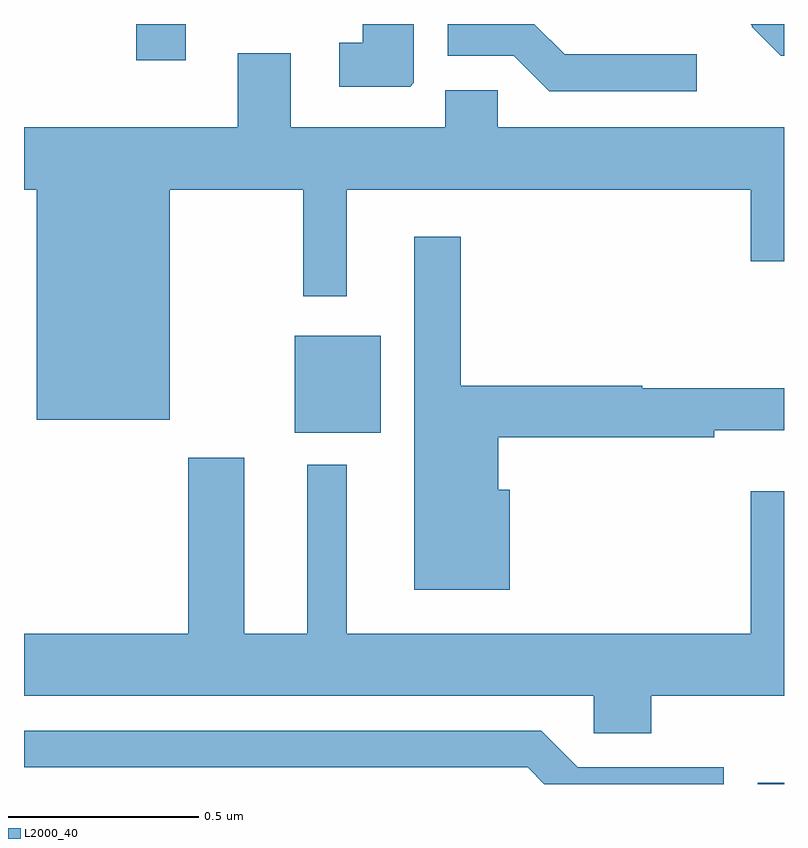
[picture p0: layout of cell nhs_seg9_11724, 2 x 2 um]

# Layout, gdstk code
import gdstk
lib = gdstk.Library(unit=1e-6, precision=1e-09)
def R(c, l, rs):  # rectangles x0, y0, x1, y1
    for r in rs: c.add(gdstk.rectangle(r[:2], r[2:], *l))
def P(c, l, *ps):  # polygons
    for p in ps: c.add(gdstk.Polygon(p, *l))
L2000_40 = (2000, 40)

nhs_seg9_11724 = lib.new_cell('nhs_seg9_11724')
R(nhs_seg9_11724, L2000_40, [(260.931,1217.5,261,1217.503), (259.712,1218.425,259.939,1218.679), (259.295,1219.404,259.426,1219.5)])
P(nhs_seg9_11724, L2000_40, [(261,1219.5),(260.912,1219.5),(260.917,1219.495),(260.915,1219.493),(260.991,1219.416),(261,1219.416)],
  [(260.026,1219.345),(260.026,1219.5),(259.892,1219.5),(259.892,1219.451),(259.83,1219.451),(259.83,1219.335),(260.016,1219.335)],
  [(260.77,1219.42),(260.423,1219.42),(260.343,1219.5),(260.115,1219.5),(260.115,1219.416),(260.289,1219.416),(260.382,1219.323),(260.77,1219.323)],
  [(259.384,1219.064),(259.735,1219.064),(259.735,1218.783),(259.849,1218.783),(259.849,1219.064),(260.912,1219.064),(260.912,1218.876),(261,1218.876),(261,1219.228),(260.247,1219.228),(260.247,1219.326),(260.108,1219.326),(260.108,1219.228),(259.702,1219.228),(259.702,1219.423),(259.562,1219.423),(259.562,1219.228),(259,1219.228),(259,1219.064),(259.034,1219.064),(259.034,1218.458),(259.384,1218.458)],
  [(260.278,1218.274),(260.248,1218.274),(260.248,1218.412),(260.816,1218.412),(260.816,1218.431),(261,1218.431),(261,1218.541),(260.627,1218.541),(260.627,1218.548),(260.149,1218.548),(260.149,1218.94),(260.027,1218.94),(260.027,1218.011),(260.278,1218.011)],
  [(260.651,1217.732),(261,1217.732),(261,1218.271),(260.912,1218.271),(260.912,1217.896),(259.849,1217.896),(259.849,1218.34),(259.745,1218.34),(259.745,1217.896),(259.579,1217.896),(259.579,1218.358),(259.432,1218.358),(259.432,1217.896),(259,1217.896),(259,1217.732),(260.499,1217.732),(260.499,1217.634),(260.651,1217.634)],
  [(260.841,1217.544),(260.457,1217.544),(260.361,1217.64),(259,1217.64),(259,1217.544),(260.325,1217.544),(260.369,1217.5),(260.841,1217.5)])

lib.write_gds('nhs_seg9_11724.gds')
